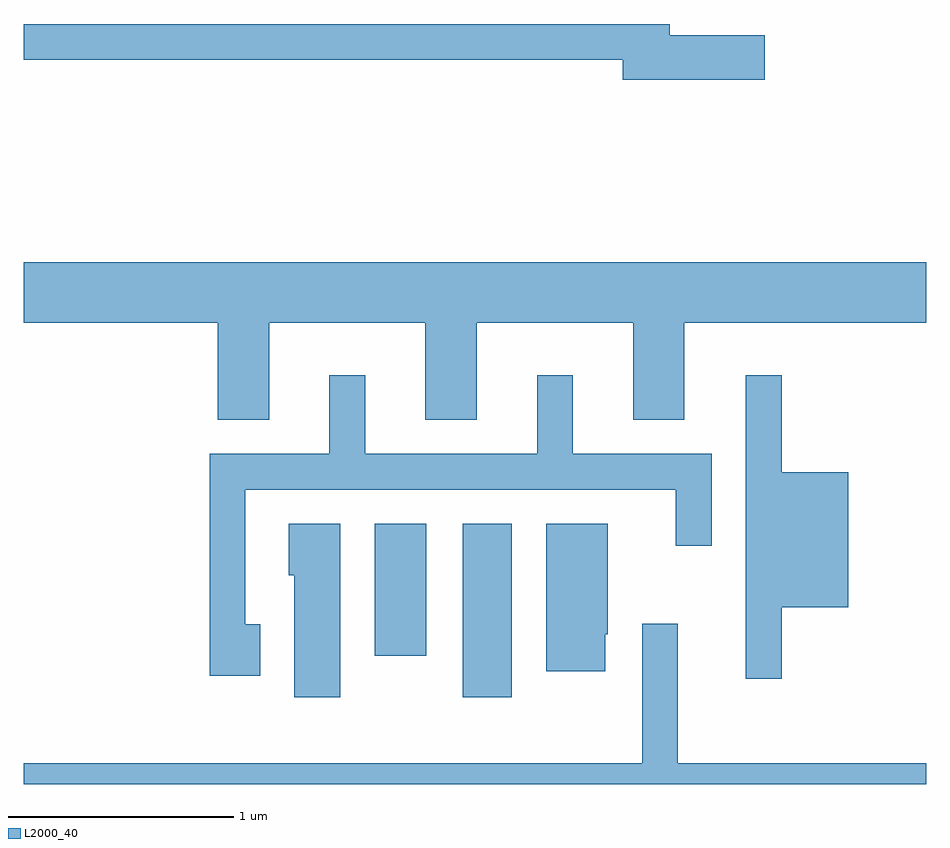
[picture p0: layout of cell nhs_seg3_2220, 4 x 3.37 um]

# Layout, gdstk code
import gdstk
lib = gdstk.Library(unit=1e-6, precision=1e-09)
def R(c, l, rs):  # rectangles x0, y0, x1, y1
    for r in rs: c.add(gdstk.rectangle(r[:2], r[2:], *l))
def P(c, l, *ps):  # polygons
    for p in ps: c.add(gdstk.Polygon(p, *l))
L2000_40 = (2000, 40)

nhs_seg3_2220 = lib.new_cell('nhs_seg3_2220')
R(nhs_seg3_2220, L2000_40, [(251.556,1204.276,251.774,1205.044), (251.166,1204.461,251.394,1205.044)])
P(nhs_seg3_2220, L2000_40, [(252.894,1207.209),(252.474,1207.209),(252.474,1207.259),(249.611,1207.259),(249.611,1207.101),(252.266,1207.101),(252.266,1207.011),(252.894,1207.011)],
  [(250.699,1205.936),(251.391,1205.936),(251.391,1205.506),(251.619,1205.506),(251.619,1205.936),(252.311,1205.936),(252.311,1205.506),(252.539,1205.506),(252.539,1205.936),(253.611,1205.936),(253.611,1206.204),(249.611,1206.204),(249.611,1205.936),(250.471,1205.936),(250.471,1205.506),(250.699,1205.506)],
  [(250.659,1204.599),(250.594,1204.599),(250.594,1205.196),(252.501,1205.196),(252.501,1204.948),(252.659,1204.948),(252.659,1205.354),(252.044,1205.354),(252.044,1205.703),(251.886,1205.703),(251.886,1205.354),(251.124,1205.354),(251.124,1205.703),(250.966,1205.703),(250.966,1205.354),(250.436,1205.354),(250.436,1204.371),(250.659,1204.371)],
  [(252.969,1204.676),(253.264,1204.676),(253.264,1205.274),(252.969,1205.274),(252.969,1205.703),(252.811,1205.703),(252.811,1204.358),(252.969,1204.358)],
  [(252.189,1204.555),(252.199,1204.555),(252.199,1205.044),(251.926,1205.044),(251.926,1204.391),(252.189,1204.391)],
  [(251.014,1205.044),(250.786,1205.044),(250.786,1204.816),(250.811,1204.816),(250.811,1204.276),(251.014,1204.276)],
  [(253.611,1203.984),(252.509,1203.984),(252.509,1204.603),(252.351,1204.603),(252.351,1203.984),(249.611,1203.984),(249.611,1203.892),(253.611,1203.892)])

lib.write_gds('nhs_seg3_2220.gds')
